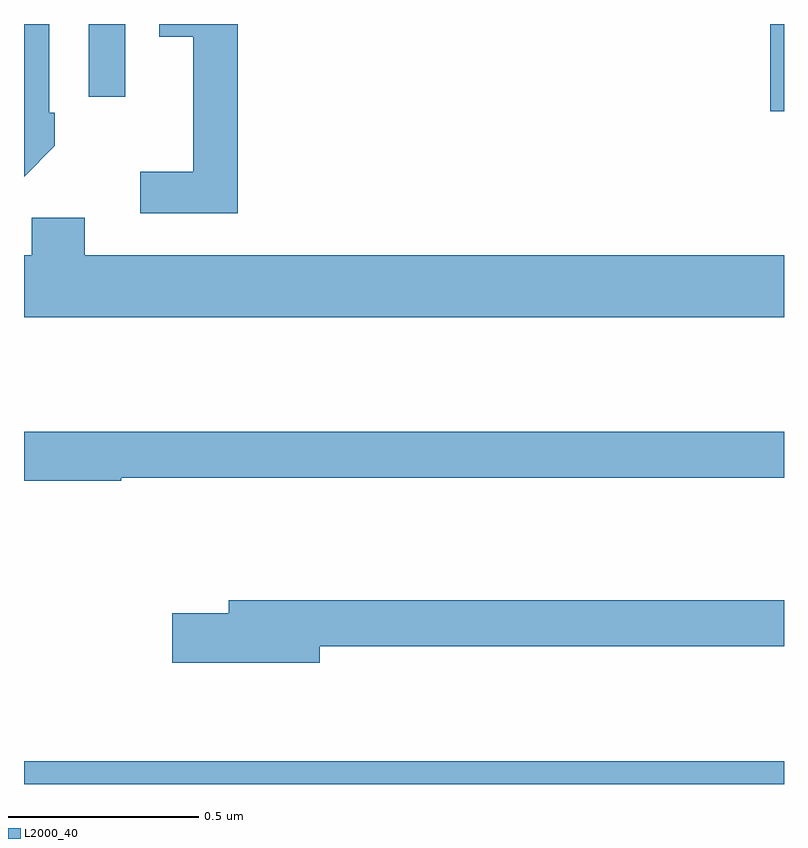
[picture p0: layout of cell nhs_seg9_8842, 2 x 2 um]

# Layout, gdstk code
import gdstk
lib = gdstk.Library(unit=1e-6, precision=1e-09)
def R(c, l, rs):  # rectangles x0, y0, x1, y1
    for r in rs: c.add(gdstk.rectangle(r[:2], r[2:], *l))
def P(c, l, *ps):  # polygons
    for p in ps: c.add(gdstk.Polygon(p, *l))
L2000_40 = (2000, 40)

nhs_seg9_8842 = lib.new_cell('nhs_seg9_8842')
R(nhs_seg9_8842, L2000_40, [(222,1220.5,224,1220.56), (223.964,1222.271,224,1222.5), (222.171,1222.308,222.267,1222.5)])
P(nhs_seg9_8842, L2000_40, [(222.563,1222.5),(222.356,1222.5),(222.356,1222.466),(222.446,1222.466),(222.446,1222.111),(222.306,1222.111),(222.306,1222.002),(222.563,1222.002)],
  [(222.081,1222.179),(222.081,1222.267),(222.066,1222.267),(222.066,1222.5),(222,1222.5),(222,1222.098)],
  [(224,1221.892),(222.16,1221.892),(222.16,1221.99),(222.021,1221.99),(222.021,1221.892),(222,1221.892),(222,1221.728),(224,1221.728)],
  [(222.256,1221.306),(224,1221.306),(224,1221.427),(222,1221.427),(222,1221.298),(222.256,1221.298)],
  [(222.778,1220.862),(224,1220.862),(224,1220.983),(222.539,1220.983),(222.539,1220.949),(222.39,1220.949),(222.39,1220.819),(222.778,1220.819)])

lib.write_gds('nhs_seg9_8842.gds')
